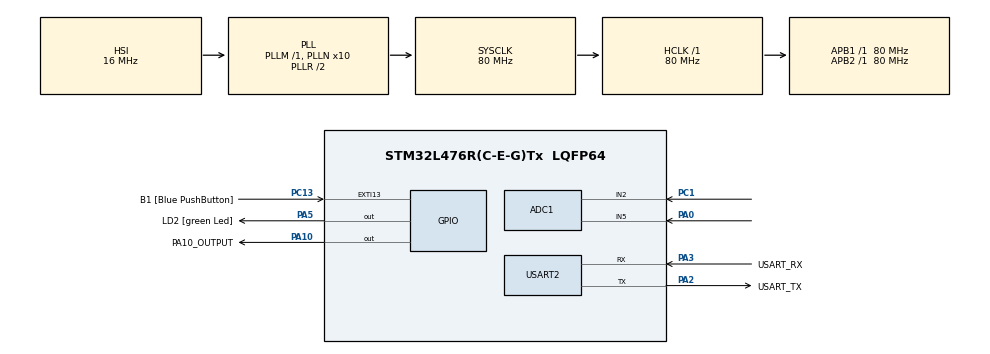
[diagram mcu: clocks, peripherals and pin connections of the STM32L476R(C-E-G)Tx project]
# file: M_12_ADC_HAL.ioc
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ADC1.Channel-1\#ChannelRegularConversion=ADC_CHANNEL_5
ADC1.ContinuousConvMode=ENABLE
ADC1.NbrOfConversionFlag=1
ADC1.OffsetNumber-1\#ChannelRegularConversion=ADC_OFFSET_NONE
ADC1.Rank-1\#ChannelRegularConversion=1
ADC1.SamplingTime-1\#ChannelRegularConversion=ADC_SAMPLETIME_2CYCLES_5
ADC1.master=1
Mcu.Family=STM32L4
Mcu.Name=STM32L476R(C-E-G)Tx
Mcu.Package=LQFP64
NVIC.PriorityGroup=NVIC_PRIORITYGROUP_4
PA0.Signal=ADCx_IN5
PA10.GPIO_Label=PA10_OUTPUT
PA10.Signal=GPIO_Output
PA13\ (JTMS-SWDIO).GPIO_Label=TMS
PA13\ (JTMS-SWDIO).Mode=Serial_Wire
PA13\ (JTMS-SWDIO).Signal=SYS_JTMS-SWDIO
PA14\ (JTCK-SWCLK).GPIO_Label=TCK
PA14\ (JTCK-SWCLK).Mode=Serial_Wire
PA14\ (JTCK-SWCLK).Signal=SYS_JTCK-SWCLK
PA2.GPIO_Label=USART_TX
PA2.GPIO_Mode=GPIO_MODE_AF_PP
PA2.GPIO_PuPd=GPIO_NOPULL
PA2.GPIO_Speed=GPIO_SPEED_FREQ_VERY_HIGH
PA2.Mode=Asynchronous
PA2.Signal=USART2_TX
PA3.GPIO_Label=USART_RX
PA3.GPIO_Mode=GPIO_MODE_AF_PP
PA3.GPIO_PuPd=GPIO_NOPULL
PA3.GPIO_Speed=GPIO_SPEED_FREQ_VERY_HIGH
PA3.Mode=Asynchronous
PA3.Signal=USART2_RX
PA5.GPIO_Label=LD2 [green Led]
PA5.GPIO_ModeDefaultOutputPP=GPIO_MODE_OUTPUT_PP
PA5.GPIO_PuPd=GPIO_NOPULL
PA5.GPIO_Speed=GPIO_SPEED_FREQ_LOW
PA5.Signal=GPIO_Output
PB3\ (JTDO-TRACESWO).GPIO_Label=SWO
PB3\ (JTDO-TRACESWO).Signal=SYS_JTDO-SWO
PC1.Signal=ADCx_IN2
PC13.GPIO_Label=B1 [Blue PushButton]
PC13.GPIO_ModeDefaultEXTI=GPIO_MODE_IT_FALLING
PC13.GPIO_PuPd=GPIO_NOPULL
PC13.Signal=GPXTI13
PC14-OSC32_IN\ (PC14).Mode=LSE-External-Oscillator
PC14-OSC32_IN\ (PC14).Signal=RCC_OSC32_IN
PC15-OSC32_OUT\ (PC15).Mode=LSE-External-Oscillator
PC15-OSC32_OUT\ (PC15).Signal=RCC_OSC32_OUT
PH0-OSC_IN\ (PH0).Signal=RCC_OSC_IN
PH1-OSC_OUT\ (PH1).Signal=RCC_OSC_OUT
ProjectManager.HeapSize=0x200
ProjectManager.StackSize=0x400
ProjectManager.TargetToolchain=STM32CubeIDE
RCC.ADCFreq_Value=64000000
RCC.AHBFreq_Value=80000000
RCC.APB1Freq_Value=80000000
RCC.APB1TimFreq_Value=80000000
RCC.APB2Freq_Value=80000000
RCC.APB2TimFreq_Value=80000000
RCC.CortexFreq_Value=80000000
RCC.HCLKFreq_Value=80000000
RCC.HSE_VALUE=8000000
RCC.HSI_VALUE=16000000
RCC.MSI_VALUE=4000000
RCC.PLLN=10
RCC.PLLSourceVirtual=RCC_PLLSOURCE_HSI
RCC.PREFETCH_ENABLE=1
RCC.SYSCLKFreq_VALUE=80000000
RCC.SYSCLKSource=RCC_SYSCLKSOURCE_PLLCLK
RCC.USBFreq_Value=64000000
RCC.VCOOutputFreq_Value=160000000
SH.ADCx_IN2.0=ADC1_IN2,IN2-Single-Ended
SH.ADCx_IN5.0=ADC1_IN5,IN5-Single-Ended
USART2.VirtualMode-Asynchronous=VM_ASYNC
board=NUCLEO-L476RG

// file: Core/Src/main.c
/* USER CODE BEGIN Header */
/**
  ******************************************************************************
  * @file           : main.c
  * @brief          : Main program body
  ******************************************************************************
  * @attention
  *
  * Copyright (c) 2023 STMicroelectronics.
  * All rights reserved.
  *
  * This software is licensed under terms that can be found in the LICENSE file
  * in the root directory of this software component.
  * If no LICENSE file comes with this software, it is provided AS-IS.
  *
  ******************************************************************************
  */
/* USER CODE END Header */
#include "main.h"

/* USER CODE BEGIN Includes */

// Paso 0: Incluímos las librerías
#include <string.h>
#include <stdio.h>

/* USER CODE END Includes */

/* USER CODE BEGIN PD */

// Paso 0: Declaramos las variables para el UART y ADC
uint16_t raw; // Variable para el ADC del canal 5
uint16_t raw2; // Variable para el ADC del canal 2 (Opcional)
char msg[20]; // Variable para transmitir un mensaje por UART

/* USER CODE END PD */

ADC_HandleTypeDef hadc1;

UART_HandleTypeDef huart2;

void SystemClock_Config(void);
static void MX_GPIO_Init(void);
static void MX_USART2_UART_Init(void);
static void MX_ADC1_Init(void);
/* USER CODE BEGIN PFP */

void update_adc_channel(uint32_t new_channel);

/* USER CODE END PFP */

/* USER CODE BEGIN 0 */

// Paso 1: Creamos la función para seleccionar el canal que vamos a utilizar
void update_adc_channel(uint32_t new_channel)
{
	ADC_ChannelConfTypeDef sConfig = {0};
	/** Configure Regular Channel
	  */
	sConfig.Channel = new_channel;
	sConfig.Rank = ADC_REGULAR_RANK_1;
	sConfig.SamplingTime = ADC_SAMPLETIME_2CYCLES_5;
	sConfig.SingleDiff = ADC_SINGLE_ENDED;
	sConfig.OffsetNumber = ADC_OFFSET_NONE;
	sConfig.Offset = 0;
	if (HAL_ADC_ConfigChannel(&hadc1, &sConfig) != HAL_OK)
	{
		Error_Handler();
	}
}

/* USER CODE END 0 */

int main(void)
{

  /* MCU Configuration--------------------------------------------------------*/

  /* Reset of all peripherals, Initializes the Flash interface and the Systick. */
  HAL_Init();

  /* Configure the system clock */
  SystemClock_Config();

  /* Initialize all configured peripherals */
  MX_GPIO_Init();
  MX_USART2_UART_Init();
  MX_ADC1_Init();

  /* Infinite loop */
  /* USER CODE BEGIN WHILE */
  while (1)
  {
	  // Test: Set GPIO pin high
	  HAL_GPIO_WritePin(PA10_OUTPUT_GPIO_Port, PA10_OUTPUT_Pin, GPIO_PIN_SET);

	  // Paso 2: Configuramos el canal que vamos a usar
	  update_adc_channel(ADC_CHANNEL_5);

	  // Paso 3: Iniciamos la conversión ADC
	  HAL_ADC_Start(&hadc1);

	  // Paso 4: Espera hasta realizar la conversión ADC
	  HAL_ADC_PollForConversion(&hadc1, HAL_MAX_DELAY);

	  // Paso 5: Obtenemos la conversión ADC
	  raw = HAL_ADC_GetValue(&hadc1);

	  // Paso 6: Detenemos la conversión por ADC
	  HAL_ADC_Stop(&hadc1);

	  /******************************************PASOS OPCIONALES***********************************************/

	  // Paso 7 (Opcional): Configuramos el nuevo canal a usar
	  update_adc_channel(ADC_CHANNEL_2);

	  // Paso 8 (Opcional): Iniciamos la conversión ADC
	  HAL_ADC_Start(&hadc1);

	  // Paso 9 (Opcional): Espera hasta realizar la conversión ADC
	  HAL_ADC_PollForConversion(&hadc1, 10);

	  // Paso 10 (Opcional: Obtenemos la conversión ADC del canal 2
	  raw2 = HAL_ADC_GetValue(&hadc1);

	  // Paso 11 (Opcional): Detenemos la conversión por ADC
	  HAL_ADC_Stop(&hadc1);

	  /******************************************PASOS OPCIONALES***********************************************/

	  // Test: Set GPIO pin low
	  HAL_GPIO_WritePin(PA10_OUTPUT_GPIO_Port, PA10_OUTPUT_Pin, GPIO_PIN_RESET);

	  // Convertimos a un string para transmitirlo por UART
	  sprintf(msg,"Este es el canal 5: %hu\r\n",raw);

	  // Transmitimos por UART
	  HAL_UART_Transmit(&huart2, (uint8_t*)msg, strlen(msg), HAL_MAX_DELAY);

	  // Convertimos a un string para transmitirlo por UART
	  sprintf(msg,"Este es el canal 2: %hu\r\n",raw2);

	  // Transmitimos por UART
	  HAL_UART_Transmit(&huart2, (uint8_t*)msg, strlen(msg), HAL_MAX_DELAY);

	  // Delay
	  HAL_Delay(1);

    /* USER CODE END WHILE */

  }
}

void SystemClock_Config(void)
{
  RCC_OscInitTypeDef RCC_OscInitStruct = {0};
  RCC_ClkInitTypeDef RCC_ClkInitStruct = {0};

  /** Configure the main internal regulator output voltage
  */
  if (HAL_PWREx_ControlVoltageScaling(PWR_REGULATOR_VOLTAGE_SCALE1) != HAL_OK)
  {
    Error_Handler();
  }

  /** Initializes the RCC Oscillators according to the specified parameters
  * in the RCC_OscInitTypeDef structure.
  */
  RCC_OscInitStruct.OscillatorType = RCC_OSCILLATORTYPE_HSI;
  RCC_OscInitStruct.HSIState = RCC_HSI_ON;
  RCC_OscInitStruct.HSICalibrationValue = RCC_HSICALIBRATION_DEFAULT;
  RCC_OscInitStruct.PLL.PLLState = RCC_PLL_ON;
  RCC_OscInitStruct.PLL.PLLSource = RCC_PLLSOURCE_HSI;
  RCC_OscInitStruct.PLL.PLLM = 1;
  RCC_OscInitStruct.PLL.PLLN = 10;
  RCC_OscInitStruct.PLL.PLLP = RCC_PLLP_DIV7;
  RCC_OscInitStruct.PLL.PLLQ = RCC_PLLQ_DIV2;
  RCC_OscInitStruct.PLL.PLLR = RCC_PLLR_DIV2;
  if (HAL_RCC_OscConfig(&RCC_OscInitStruct) != HAL_OK)
  {
    Error_Handler();
  }

  /** Initializes the CPU, AHB and APB buses clocks
  */
  RCC_ClkInitStruct.ClockType = RCC_CLOCKTYPE_HCLK|RCC_CLOCKTYPE_SYSCLK
                              |RCC_CLOCKTYPE_PCLK1|RCC_CLOCKTYPE_PCLK2;
  RCC_ClkInitStruct.SYSCLKSource = RCC_SYSCLKSOURCE_PLLCLK;
  RCC_ClkInitStruct.AHBCLKDivider = RCC_SYSCLK_DIV1;
  RCC_ClkInitStruct.APB1CLKDivider = RCC_HCLK_DIV1;
  RCC_ClkInitStruct.APB2CLKDivider = RCC_HCLK_DIV1;

  if (HAL_RCC_ClockConfig(&RCC_ClkInitStruct, FLASH_LATENCY_4) != HAL_OK)
  {
    Error_Handler();
  }
}

static void MX_ADC1_Init(void)
{

  ADC_MultiModeTypeDef multimode = {0};
  ADC_ChannelConfTypeDef sConfig = {0};

  /** Common config
  */
  hadc1.Instance = ADC1;
  hadc1.Init.ClockPrescaler = ADC_CLOCK_ASYNC_DIV1;
  hadc1.Init.Resolution = ADC_RESOLUTION_12B;
  hadc1.Init.DataAlign = ADC_DATAALIGN_RIGHT;
  hadc1.Init.ScanConvMode = ADC_SCAN_DISABLE;
  hadc1.Init.EOCSelection = ADC_EOC_SINGLE_CONV;
  hadc1.Init.LowPowerAutoWait = DISABLE;
  hadc1.Init.ContinuousConvMode = ENABLE;
  hadc1.Init.NbrOfConversion = 1;
  hadc1.Init.DiscontinuousConvMode = DISABLE;
  hadc1.Init.ExternalTrigConv = ADC_SOFTWARE_START;
  hadc1.Init.ExternalTrigConvEdge = ADC_EXTERNALTRIGCONVEDGE_NONE;
  hadc1.Init.DMAContinuousRequests = DISABLE;
  hadc1.Init.Overrun = ADC_OVR_DATA_PRESERVED;
  hadc1.Init.OversamplingMode = DISABLE;
  if (HAL_ADC_Init(&hadc1) != HAL_OK)
  {
    Error_Handler();
  }

  /** Configure the ADC multi-mode
  */
  multimode.Mode = ADC_MODE_INDEPENDENT;
  if (HAL_ADCEx_MultiModeConfigChannel(&hadc1, &multimode) != HAL_OK)
  {
    Error_Handler();
  }

  /** Configure Regular Channel
  */
  sConfig.Channel = ADC_CHANNEL_5;
  sConfig.Rank = ADC_REGULAR_RANK_1;
  sConfig.SamplingTime = ADC_SAMPLETIME_2CYCLES_5;
  sConfig.SingleDiff = ADC_SINGLE_ENDED;
  sConfig.OffsetNumber = ADC_OFFSET_NONE;
  sConfig.Offset = 0;
  if (HAL_ADC_ConfigChannel(&hadc1, &sConfig) != HAL_OK)
  {
    Error_Handler();
  }
  /* USER CODE BEGIN ADC1_Init 2 */

  /** Configure Regular Channel
    */
  // Paso 4 (OPcional): Configuramos un nuevo canal para recibir datos análogos
    sConfig.Channel = ADC_CHANNEL_2;
    sConfig.Rank = ADC_REGULAR_RANK_2;
    if (HAL_ADC_ConfigChannel(&hadc1, &sConfig) != HAL_OK)
    {
      Error_Handler();
    }

  /* USER CODE END ADC1_Init 2 */

}

static void MX_USART2_UART_Init(void)
{

  huart2.Instance = USART2;
  huart2.Init.BaudRate = 115200;
  huart2.Init.WordLength = UART_WORDLENGTH_8B;
  huart2.Init.StopBits = UART_STOPBITS_1;
  huart2.Init.Parity = UART_PARITY_NONE;
  huart2.Init.Mode = UART_MODE_TX_RX;
  huart2.Init.HwFlowCtl = UART_HWCONTROL_NONE;
  huart2.Init.OverSampling = UART_OVERSAMPLING_16;
  huart2.Init.OneBitSampling = UART_ONE_BIT_SAMPLE_DISABLE;
  huart2.AdvancedInit.AdvFeatureInit = UART_ADVFEATURE_NO_INIT;
  if (HAL_UART_Init(&huart2) != HAL_OK)
  {
    Error_Handler();
  }

}

static void MX_GPIO_Init(void)
{
  GPIO_InitTypeDef GPIO_InitStruct = {0};

  /* GPIO Ports Clock Enable */
  __HAL_RCC_GPIOC_CLK_ENABLE();
  __HAL_RCC_GPIOH_CLK_ENABLE();
  __HAL_RCC_GPIOA_CLK_ENABLE();
  __HAL_RCC_GPIOB_CLK_ENABLE();

  /*Configure GPIO pin Output Level */
  HAL_GPIO_WritePin(GPIOA, LD2_Pin|PA10_OUTPUT_Pin, GPIO_PIN_RESET);

  /*Configure GPIO pin : B1_Pin */
  GPIO_InitStruct.Pin = B1_Pin;
  GPIO_InitStruct.Mode = GPIO_MODE_IT_FALLING;
  GPIO_InitStruct.Pull = GPIO_NOPULL;
  HAL_GPIO_Init(B1_GPIO_Port, &GPIO_InitStruct);

  /*Configure GPIO pins : LD2_Pin PA10_OUTPUT_Pin */
  GPIO_InitStruct.Pin = LD2_Pin|PA10_OUTPUT_Pin;
  GPIO_InitStruct.Mode = GPIO_MODE_OUTPUT_PP;
  GPIO_InitStruct.Pull = GPIO_NOPULL;
  GPIO_InitStruct.Speed = GPIO_SPEED_FREQ_LOW;
  HAL_GPIO_Init(GPIOA, &GPIO_InitStruct);

}

void Error_Handler(void)
{
  __disable_irq();
  while (1)
  {
  }
}
